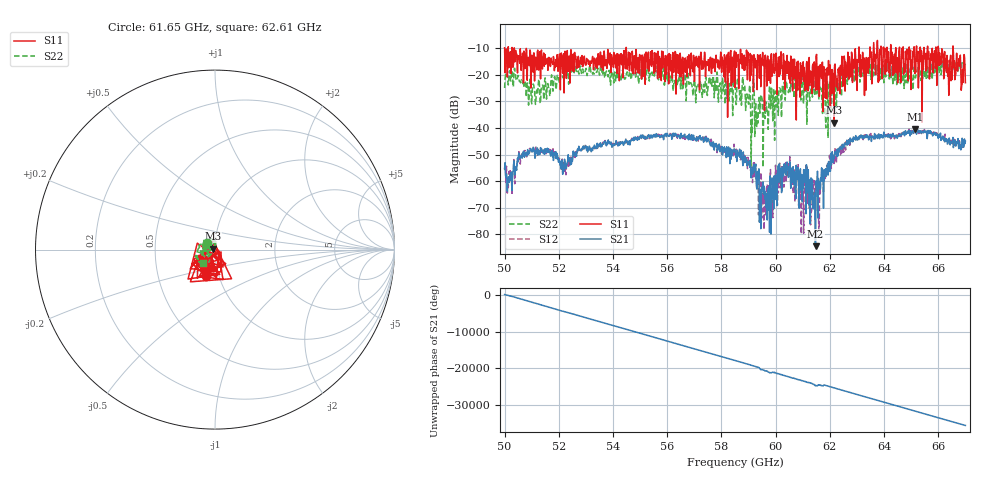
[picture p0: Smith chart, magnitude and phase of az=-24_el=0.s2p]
!Created with skrf (http://scikit-rf.org).
# GHz S RI R 50.0
!freq ReS11 ImS11 ReS21 ImS21 ReS12 ImS12 ReS22 ImS22
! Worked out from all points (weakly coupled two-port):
!   1001 points, 50 GHz to 67 GHz, reference 50 ohm
!   highest |S21| = -40.55 dB at 65.13 GHz (marker M1); lowest = -84.5 dB at 61.48 GHz (marker M2)
!   lowest |S11| = -38.0 dB at 62.16 GHz (marker M3), VSWR 1.03, Z = 48.9 + j0.505 ohm
!   |S11| at or under -10 dB: 50.36 GHz to 54.49 GHz (4.129 GHz wide, 7.88 % of centre); 54.49 GHz to 63.07 GHz (8.582 GHz wide, 14.6 % of centre); 66.01 GHz to 66.54 GHz (533.2 MHz wide, 0.805 % of centre) (the widest 3 of 26)
!   |S22| runs from -55.4 to -13.9 dB; largest |S21 - S12| = 0.0022
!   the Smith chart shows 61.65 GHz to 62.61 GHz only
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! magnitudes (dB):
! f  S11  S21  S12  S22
! 50 GHz  -9.8  -55.2  -55.8  -25.0
! 50.19 GHz  -12.8  -58.6  -58.6  -18.4
! 50.58 GHz  -10.2  -51.4  -53.6  -22.4
! 51.07 GHz  -11.8  -47.4  -48.1  -23.8
! 52.23 GHz  -11.1  -52.8  -56.3  -20.3
! 52.84 GHz  -13.7  -48.2  -48.4  -19.5
! 55.68 GHz  -13.5  -42.8  -43.2  -21.9
! 58.5 GHz  -24.7  -48.4  -47.6  -24.2
! 59.27 GHz  -17.4  -53.6  -57.1  -30.3
! 59.38 GHz  -13.0  -55.4  -66.0  -28.5
! 59.57 GHz  -14.3  -61.9  -78.2  -29.8
! 59.77 GHz  -22.0  -79.3  -64.6  -24.1
! 60.08 GHz  -20.6  -59.0  -63.8  -32.6
! 60.44 GHz  -18.2  -54.7  -57.7  -25.3
! 61.34 GHz  -27.1  -67.1  -70.0  -25.9
! 61.48 GHz  -25.8  -84.5  -60.2  -22.3
! 61.58 GHz  -16.9  -59.0  -70.1  -26.6
! 62.16 GHz  -38.0  -51.5  -53.4  -28.7
! 63.69 GHz  -19.9  -42.6  -43.6  -16.5
! 64.18 GHz  -19.0  -42.5  -43.0  -18.7
! 65.13 GHz  -19.5  -40.5  -40.2  -17.8
! 67 GHz  -23.0  -45.0  -45.4  -15.9
